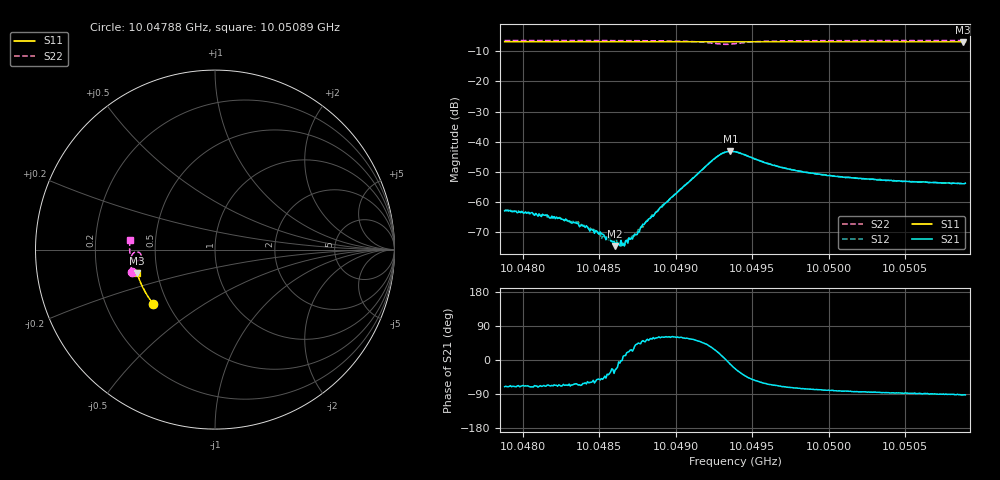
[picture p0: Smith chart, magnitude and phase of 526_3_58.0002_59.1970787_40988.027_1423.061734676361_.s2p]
#  HZ  S  RI  R  50.00
! Rohde & Schwarz Vector Network Analyzer
! Rohde-Schwarz,ZNB20-2Port,1311601062101988,3.16
! Created: UTC 3/21/2024, 1:13:54 AM
! freq[Hz]  re:S11  im:S11  re:S21  im:S21  re:S12  im:S12  re:S22  im:S22
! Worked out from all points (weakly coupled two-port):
!   401 points, 10.04788 GHz to 10.05089 GHz, reference 50 ohm
!   highest |S21| = -43.19 dB at 10.04936 GHz (marker M1); lowest = -74.6 dB at 10.0486 GHz (marker M2)
!   lowest |S11| = -6.9 dB at 10.05088 GHz (marker M3), VSWR 2.65, Z = 19.2 - j6.27 ohm
!   |S11| at or under -10 dB: nowhere
!   |S22| runs from -7.7 to -6.4 dB; largest |S21 - S12| = 0.00052
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1.004788e10  -0.3429 -0.3026  0.000238 -0.00067  0.000305 -0.000677  -0.4611 -0.1262
1.0048144e10  -0.3537 -0.2891  0.000221 -0.00056  0.000257 -0.000543  -0.4651 -0.1084
1.0048347e10  -0.3617 -0.2783  0.000205 -0.000397  0.000247 -0.000402  -0.4676 -0.0938
1.0048385e10  -0.3632 -0.2763  0.000173 -0.000381  0.000211 -0.000345  -0.4679 -0.0911
1.0048475e10  -0.3666 -0.2715  0.000183 -0.000274  0.00022 -0.000244  -0.4687 -0.0843
1.004852e10  -0.3683 -0.2691  0.000184 -0.000228  0.000182 -0.000197  -0.4691 -0.0806
1.0048558e10  -0.3697 -0.2669  0.000185 -0.000151  0.000196 -0.000134  -0.4694 -0.0778
1.0048603e10  -0.3714 -0.2644  0.000168 -8e-05  0.000185 -7.6e-05  -0.4696 -0.0742
1.0048648e10  -0.3731 -0.2621  0.00019 -5.19e-06  0.000217 1.12e-06  -0.4697 -0.0705
1.0048701e10  -0.3749 -0.2592  0.000216 0.000106  0.000213 0.000109  -0.4701 -0.0661
1.0048731e10  -0.3761 -0.2574  0.000234 0.000178  0.000214 0.000175  -0.4699 -0.0634
1.0048784e10  -0.3779 -0.2547  0.00027 0.000335  0.000245 0.000292  -0.4698 -0.0588
1.0048889e10  -0.3815 -0.2486  0.000363 0.000663  0.000347 0.00068  -0.469 -0.0488
1.0049243e10  -0.3929 -0.2283  0.00435 0.00254  0.00417 0.0028  -0.4301 -0.0134
1.0049304e10  -0.3944 -0.2248  0.0063 0.0011  0.00624 0.0015  -0.4132 -0.026
1.0049356e10  -0.3959 -0.222  0.00678 -0.00141  0.00689 -0.000895  -0.412 -0.047
1.0049386e10  -0.397 -0.2203  0.00628 -0.00261  0.00648 -0.00222  -0.4186 -0.0564
1.0049673e10  -0.4058 -0.2038  0.00141 -0.00358  0.00162 -0.00351  -0.4676 -0.0402
1.0049891e10  -0.4118 -0.1909  0.000669 -0.00295  0.000802 -0.0029  -0.4737 -0.0184
1.0050396e10  -0.4239 -0.1599  0.000139 -0.00227  0.000276 -0.00226  -0.4753 0.0214
1.0050878e10  -0.4332 -0.1298  -6.93e-05 -0.002  9.03e-05 -0.00203  -0.4727 0.0551
1.0050893e10  -0.4335 -0.1289  -6.59e-05 -0.00204  4.58e-05 -0.00202  -0.4725 0.0561
